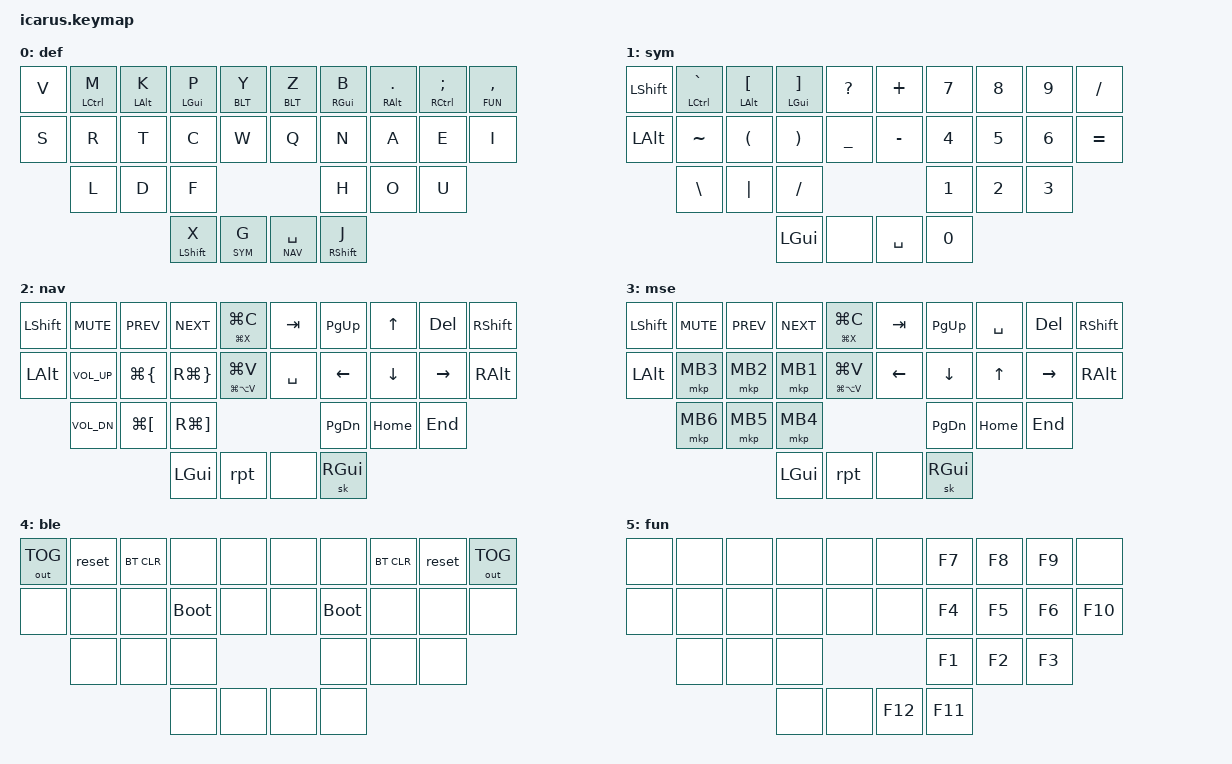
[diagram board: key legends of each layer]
#include <behaviors.dtsi>
#include <dt-bindings/zmk/keys.h>
#include <dt-bindings/zmk/bt.h>
#include <dt-bindings/zmk/outputs.h>
#include <dt-bindings/zmk/mouse.h>

&mt {
    tapping-term-ms = <250>;
    flavor = "tap-preferred";
};
&sk {
     release-after-ms = <2000>;
     quick-release;
};
&caps_word {
    continue-list = <UNDERSCORE BACKSPACE DELETE MINUS>;
};

/* Basic Definition */
#define rpt  key_repeat
#define CPY  LG(C)
#define CUT  LG(X)
#define PST  LG(V)
#define FPST LG(LA(V))   // Finder cut-paste file

/* Layers */
#define DEF 0
#define SYM 1
#define NAV 2	
#define MSE 3
#define BLT 4
#define FUN 5
/ { 
    combos {
        compatible = "zmk,combos";
        combo_sqt     { timeout-ms = <175>; key-positions = < 8  9>; bindings = <&kp SQT>; layers = <DEF>; };
        combo_caps    { timeout-ms = <175>; key-positions = < 4  5>; bindings = <&caps_word>; };
        combo_shft_l  { timeout-ms = <175>; key-positions = <13 14>; bindings = <&sk LSHFT>; };
        combo_shft_r  { timeout-ms = <175>; key-positions = <15 16>; bindings = <&sk LSHFT>; };
        combo_dot     { timeout-ms = <175>; key-positions = <16 17>; bindings = <&kp DOT>; layers = <SYM>; };
        combo_comma   { timeout-ms = <175>; key-positions = <17 18>; bindings = <&kp COMMA>; layers = <SYM>; };
        combo_numlock { timeout-ms = <175>; key-positions = <13 22>; bindings = <&kp KP_NUM>; layers = <NAV>; };
        combo_bspc_l  { timeout-ms = <175>; key-positions = < 3 14>; bindings = <&kp BSPC>; };
        combo_bspc_r  { timeout-ms = <175>; key-positions = < 6 15>; bindings = <&kp BSPC>; };
        combo_del_l   { timeout-ms = <175>; key-positions = < 4 13>; bindings = <&kp DEL>; };
        combo_del_r   { timeout-ms = <175>; key-positions = < 5 16>; bindings = <&kp DEL>; };
        combo_entr_l  { timeout-ms = <175>; key-positions = <21 22>; bindings = <&kp RETURN>; };
        combo_entr_r  { timeout-ms = <175>; key-positions = <23 24>; bindings = <&kp RETURN>; };
        combo_esc_l   { timeout-ms = <175>; key-positions = < 3 13>; bindings = <&kp ESC>; };
        combo_esc_r   { timeout-ms = <175>; key-positions = < 6 16>; bindings = <&kp ESC>; };

        combo_ptab    { timeout-ms = <175>; key-positions = <11 12>; bindings = <&kp LG(LBRC)>; layers = <MSE>; };
        combo_ntab    { timeout-ms = <175>; key-positions = <12 13>; bindings = <&kp RG(RBRC)>; layers = <MSE>; };
        combo_bck     { timeout-ms = <175>; key-positions = <20 21>; bindings = <&kp LG(LBKT)>; layers = <MSE>; };
        // combo_fwd     { timeout-ms = <175>; key-positions = <21 22>; bindings = <&kp RG(RBKT)>; layers = <MSE>; }; 
        
        combo_play    { timeout-ms = <175>; key-positions = < 2  3>; bindings = <&kp C_PP>; layers = <NAV MSE>; };
        
        combo_MSE_l   { timeout-ms = <175>; key-positions = < 1  2  3>; bindings = <&tog MSE>; };
        combo_NAV_r   { timeout-ms = <175>; key-positions = < 6  7  8>; bindings = <&tog NAV>; };
        combo_SYM_l   { timeout-ms = <175>; key-positions = < 2  3  4>; bindings = <&tog SYM>; };
        combo_SYM_r   { timeout-ms = <175>; key-positions = < 5  6  7>; bindings = <&tog SYM>; };
        combo_tab_l   { timeout-ms = <175>; key-positions = < 2  3 10>; bindings = <&kp TAB>; };
        combo_tab_r   { timeout-ms = <175>; key-positions = < 6  7 19>; bindings = <&kp TAB>; };
        combo_meh_r   { timeout-ms = <175>; key-positions = <20 21 22>; bindings = <&sk LC(LS(LALT))>; };
        combo_meh_l   { timeout-ms = <175>; key-positions = <23 24 25>; bindings = <&sk LC(LS(LALT))>; };
    };

    behaviors {
        mod: mods {
            compatible = "zmk,behavior-hold-tap";
            label = "MODS_L";
            #binding-cells = <2>;
            tapping-term-ms = <300>;
            quick-tap-ms = <250>;
            flavor = "tap-preferred";
            bindings = <&kp>, <&kp>;
        };
        lyr: layers {
            compatible = "zmk,behavior-hold-tap";
            label = "LAYERS_R";
            #binding-cells = <2>;
            tapping-term-ms = <220>;
            quick-tap-ms = <250>;
            flavor = "tap-preferred";
            bindings = <&mo>, <&kp>;
        };
        td: tapdance {
            compatible = "zmk,behavior-hold-tap";
            label = "TAPDANCE";
            #binding-cells = <2>;
            tapping-term-ms = <190>;
            quick-tap-ms = <250>;
            flavor = "tap-preferred";
            bindings = <&kp>, <&kp>;
        };
    };

    /*             KEY POSITIONS
    ┌────────────────────┐ ┌────────────────────┐
    │ 00  01  02  03  04 │ │ 05  06  07  08  09 │
    │ 10  11  12  13  14 │ │ 15  16  17  18  19 │
    │     20  21  22     │ │     23  24  25     │
    │             26  27 │ │ 28  29             │
    └────────────────────┘ └────────────────────┘ */

    keymap {
        compatible = "zmk,keymap";

        def {
            bindings = <
            &kp V  &mod LCTL M  &mod LALT K  &mod LGUI P   &lyr BLT Y  /**/  &lyr BLT Z    &mod RGUI B   &mod RALT DOT  &mod RCTL SEMI  &lyr FUN COMMA
            &kp S  &kp R        &kp T        &kp C         &kp W       /**/  &kp Q         &kp N         &kp A          &kp E           &kp I
                   &kp L        &kp D        &kp F                     /**/                &kp H         &kp O          &kp U
                                             &mod LSHFT X  &lyr SYM G  /**/  &lyr NAV SPC  &mod RSHFT J
            >;
        };

        sym {
            bindings = <
            &kp LSHFT  &mod LCTL GRAVE  &mod LALT LBKT  &mod LGUI RBKT  &kp QMARK  /**/  &kp PLUS   &kp N7  &kp N8  &kp N9  &kp FSLH
            &kp LALT   &kp TILDE        &kp LPAR        &kp RPAR        &kp UNDER  /**/  &kp MINUS  &kp N4  &kp N5  &kp N6  &kp EQUAL
                       &kp BSLH         &kp PIPE        &kp FSLH                   /**/             &kp N1  &kp N2  &kp N3
                                                        &kp LGUI        &none      /**/  &kp SPC    &kp N0
            >;
        };

        nav {
            bindings = <
            &kp LSHFT  &kp C_MUTE    &kp C_PREV    &kp C_NEXT    &td CUT CPY   /**/  &kp TAB   &kp PG_UP  &kp UP    &kp DEL    &kp RSHFT
            &kp LALT   &kp C_VOL_UP  &kp LG(LBRC)  &kp RG(RBRC)  &td FPST PST  /**/  &kp SPC   &kp LEFT   &kp DOWN  &kp RIGHT  &kp RALT
                       &kp C_VOL_DN  &kp LG(LBKT)  &kp RG(RBKT)                /**/            &kp PG_DN  &kp HOME  &kp END
                                                   &kp LGUI      &rpt          /**/  &none     &sk RGUI
            >;
        };

        mse {
            bindings = <
            &kp LSHFT  &kp C_MUTE    &kp C_PREV    &kp C_NEXT    &td CUT CPY   /**/  &kp TAB   &kp PG_UP  &kp SPC   &kp DEL    &kp RSHFT
            &kp LALT   &mkp MB3      &mkp MB2      &mkp MB1      &td FPST PST  /**/  &kp LEFT  &kp DOWN   &kp UP    &kp RIGHT  &kp RALT
                       &mkp MB6      &mkp MB5      &mkp MB4                    /**/            &kp PG_DN  &kp HOME  &kp END
                                                   &kp LGUI      &rpt          /**/  &none     &sk RGUI
            >;
        };

        ble {
            bindings = <
            &out OUT_TOG  &reset  &bt BT_CLR  &none        &none  /**/  &none  &none        &bt BT_CLR  &reset  &out OUT_TOG
            &none         &none   &none       &bootloader  &none  /**/  &none  &bootloader  &none       &none       &none
                          &none   &none       &none               /**/         &none        &none       &none
                                              &none        &none  /**/  &none  &none
            >;
        };

        fun {
            bindings = <
            &none  &none  &none  &none  &none  /**/  &none  &kp F7  &kp F8  &kp F9  &none
            &none  &none  &none  &none  &none  /**/  &none  &kp F4  &kp F5  &kp F6  &kp F10
                   &none  &none  &none         /**/         &kp F1  &kp F2  &kp F3
                                 &none  &none  /**/  &kp F12  &kp F11
            >;
        };
    };
};
